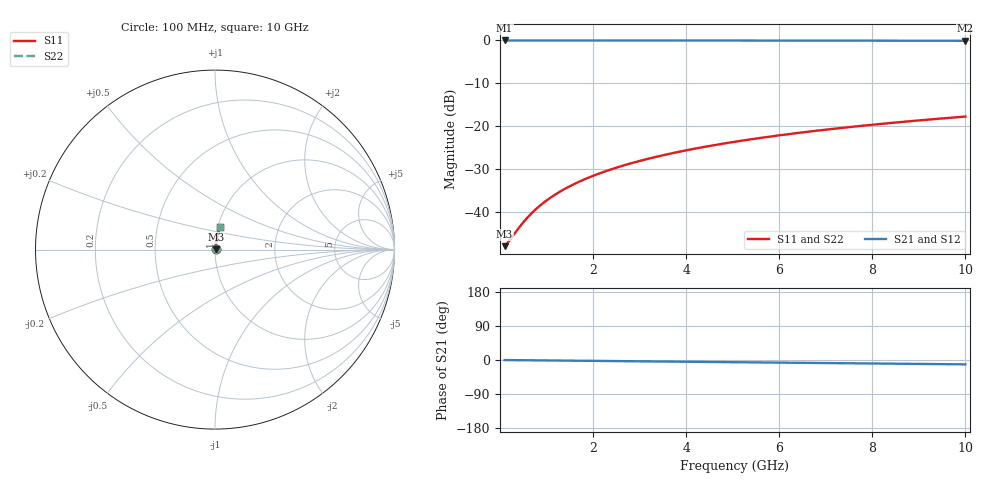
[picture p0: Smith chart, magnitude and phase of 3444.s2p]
# Hz S RI R 50.00
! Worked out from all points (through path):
!   100 points, 100 MHz to 10 GHz, reference 50 ohm
!   highest |S21| = -0.03 dB at 100 MHz (marker M1); lowest = -0.1 dB at 10 GHz (marker M2)
!   group delay of S21, straight-line fit = 3.19 ps
!   lowest |S11| = -47.9 dB at 100 MHz (marker M3), VSWR 1.01, Z = 50.4 + j0.131 ohm
!   |S11| at or under -10 dB: start of sweep to end of sweep
!   |S22| runs from -47.9 to -17.8 dB; largest |S21 - S12| = 0
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1e8  0.00379 0.0013  0.9962 -0.002  0.9962 -0.002  0.00379 0.0013
2e8  0.00382 0.0026  0.9962 -0.004  0.9962 -0.004  0.00382 0.0026
4e8  0.00389 0.00519  0.9961 -0.008  0.9961 -0.008  0.00389 0.00519
5e8  0.00393 0.00649  0.9961 -0.01  0.9961 -0.01  0.00393 0.00649
6e8  0.00396 0.00779  0.996 -0.012  0.996 -0.012  0.00396 0.00779
7e8  0.00401 0.00909  0.996 -0.014  0.996 -0.014  0.00401 0.00909
9e8  0.00411 0.0117  0.9959 -0.018  0.9959 -0.018  0.00411 0.0117
1.1e9  0.00423 0.0143  0.9957 -0.022  0.9957 -0.022  0.00423 0.0143
1.3e9  0.00437 0.0169  0.9956 -0.026  0.9956 -0.026  0.00437 0.0169
1.5e9  0.00453 0.0195  0.9954 -0.03  0.9954 -0.03  0.00453 0.0195
1.8e9  0.0048 0.0233  0.9951 -0.036  0.9951 -0.036  0.0048 0.0233
2.1e9  0.00512 0.0272  0.9948 -0.042  0.9948 -0.042  0.00512 0.0272
2.5e9  0.00562 0.0324  0.9942 -0.05  0.9942 -0.05  0.00562 0.0324
2.9e9  0.0062 0.0376  0.9936 -0.0579  0.9936 -0.0579  0.0062 0.0376
3.4e9  0.00703 0.044  0.9927 -0.0679  0.9927 -0.0679  0.00703 0.044
4.2e9  0.00864 0.0542  0.9909 -0.0838  0.9909 -0.0838  0.00864 0.0542
5.1e9  0.0108 0.0657  0.9885 -0.1015  0.9885 -0.1015  0.0108 0.0657
5.9e9  0.0131 0.0758  0.986 -0.1173  0.986 -0.1173  0.0131 0.0758
6.7e9  0.0157 0.0858  0.9831 -0.1329  0.9831 -0.1329  0.0157 0.0858
7.5e9  0.0187 0.0957  0.9799 -0.1485  0.9799 -0.1485  0.0187 0.0957
8.4e9  0.0224 0.1067  0.9758 -0.1659  0.9758 -0.1659  0.0224 0.1067
1e10  0.0298 0.1259  0.9676 -0.1965  0.9676 -0.1965  0.0298 0.1259
